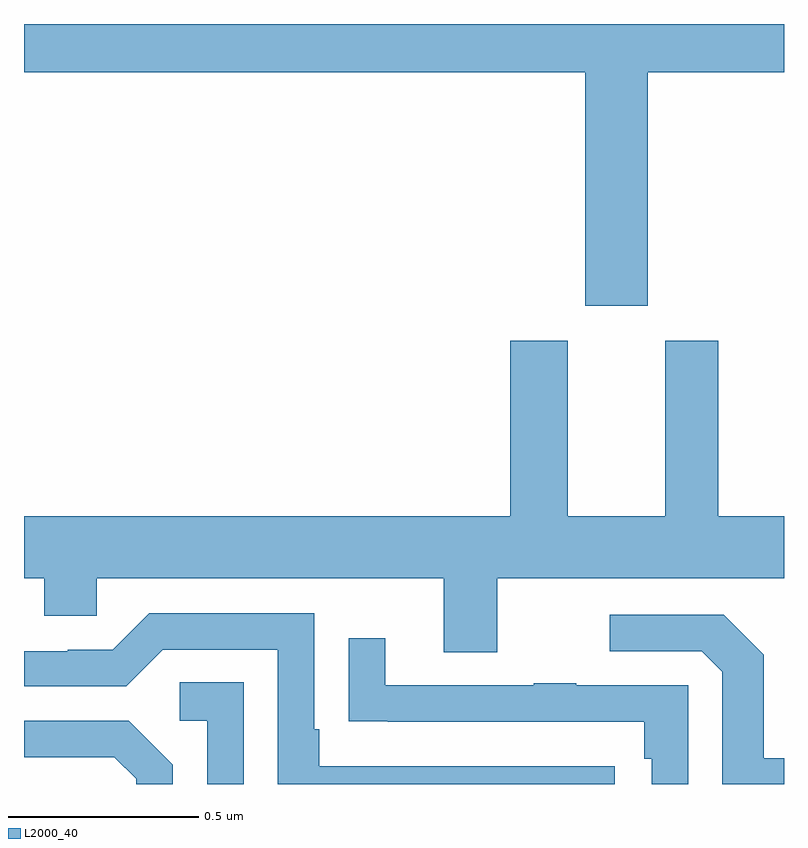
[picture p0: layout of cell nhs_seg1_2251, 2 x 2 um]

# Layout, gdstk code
import gdstk
lib = gdstk.Library(unit=1e-6, precision=1e-09)
def P(c, l, *ps):  # polygons
    for p in ps: c.add(gdstk.Polygon(p, *l))
L2000_40 = (2000, 40)

nhs_seg1_2251 = lib.new_cell('nhs_seg1_2251')
P(nhs_seg1_2251, L2000_40, [(140.641,545.072),(141,545.072),(141,545.199),(139,545.199),(139,545.072),(140.477,545.072),(140.477,544.458),(140.641,544.458)],
  [(140.245,543.74),(141,543.74),(141,543.904),(140.827,543.904),(140.827,544.366),(140.687,544.366),(140.687,543.904),(140.431,543.904),(140.431,544.366),(140.279,544.366),(140.279,543.904),(139,543.904),(139,543.74),(139.053,543.74),(139.053,543.642),(139.191,543.642),(139.191,543.74),(140.105,543.74),(140.105,543.546),(140.245,543.546)],
  [(140.554,543.246),(139.777,543.246),(139.777,543.343),(139.764,543.343),(139.764,543.648),(139.329,543.648),(139.233,543.552),(139.115,543.552),(139.115,543.549),(139,543.549),(139,543.456),(139.269,543.456),(139.365,543.552),(139.668,543.552),(139.668,543.199),(140.554,543.199)],
  [(141,543.267),(140.947,543.267),(140.947,543.539),(140.841,543.645),(140.541,543.645),(140.541,543.549),(140.784,543.549),(140.838,543.495),(140.838,543.199),(141,543.199)],
  [(140.748,543.459),(140.453,543.459),(140.453,543.464),(140.341,543.464),(140.341,543.459),(139.951,543.459),(139.951,543.583),(139.855,543.583),(139.855,543.364),(139.957,543.364),(139.957,543.363),(140.632,543.363),(140.632,543.266),(140.652,543.266),(140.652,543.199),(140.748,543.199)],
  [(139.578,543.467),(139.41,543.467),(139.41,543.366),(139.482,543.366),(139.482,543.199),(139.578,543.199)],
  [(139.392,543.25),(139.276,543.366),(139,543.366),(139,543.27),(139.238,543.27),(139.295,543.213),(139.295,543.199),(139.392,543.199)])

lib.write_gds('nhs_seg1_2251.gds')
